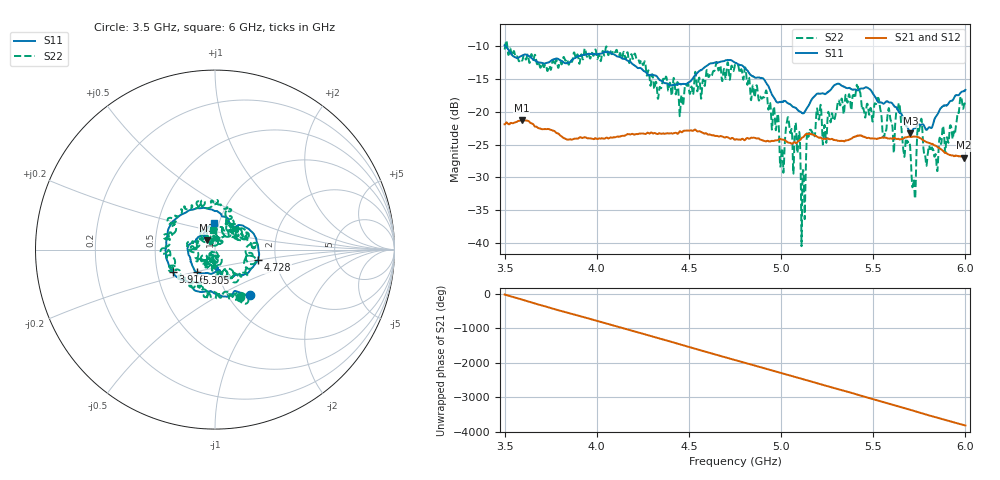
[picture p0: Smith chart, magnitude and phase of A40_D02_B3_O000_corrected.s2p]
! Created with skrf 1.9.0 (http://scikit-rf.org).
# Hz S RI R 50.0
!freq ReS11 ImS11 ReS21 ImS21 ReS12 ImS12 ReS22 ImS22
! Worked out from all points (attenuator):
!   1601 points, 3.5 GHz to 6 GHz, reference 50 ohm
!   highest |S21| = -21.27 dB at 3.594 GHz (marker M1); lowest = -27.0 dB at 5.994 GHz (marker M2)
!   lowest |S11| = -23.3 dB at 5.702 GHz (marker M3), VSWR 1.15, Z = 45.4 + j4.68 ohm
!   |S11| at or under -10 dB: 3.504 GHz to end of sweep
!   |S22| runs from -40.4 to -9.2 dB; largest |S21 - S12| = 0.001
!   S11 on the Smith chart (normalised r, x): 3.5 GHz: 1.26, -0.71; 3.916 GHz: 0.60, -0.16; 4.728 GHz: 1.61, -0.20; 5.305 GHz: 0.79, -0.21; 6 GHz: 0.95, +0.28
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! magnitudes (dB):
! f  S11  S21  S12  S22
! 3.5 GHz  -9.9  -21.9  -21.9  -10.5
! 3.594 GHz  -11.5  -21.3  -21.3  -12.2
! 3.916 GHz  -11.5  -23.9  -23.9  -11.3
! 3.917 GHz  -11.5  -24.0  -23.9  -11.3
! 4.334 GHz  -15.0  -23.3  -23.3  -17.7
! 4.728 GHz  -12.2  -24.1  -24.0  -13.4
! 4.75 GHz  -12.5  -24.3  -24.2  -12.9
! 4.928 GHz  -16.0  -24.4  -24.4  -19.1
! 5.005 GHz  -18.5  -24.2  -24.2  -25.5
! 5.034 GHz  -18.7  -24.6  -24.6  -21.1
! 5.088 GHz  -19.7  -24.6  -24.6  -26.2
! 5.12 GHz  -20.2  -23.9  -23.8  -28.9
! 5.167 GHz  -18.1  -23.4  -23.4  -23.2
! 5.305 GHz  -15.8  -24.4  -24.3  -19.1
! 5.584 GHz  -18.6  -24.1  -24.1  -19.4
! 5.638 GHz  -19.9  -24.1  -24.1  -18.9
! 5.702 GHz  -23.3  -23.8  -23.8  -26.0
! 5.72 GHz  -22.6  -23.8  -23.7  -30.3
! 5.752 GHz  -21.9  -24.0  -23.9  -22.4
! 5.841 GHz  -20.7  -25.2  -25.2  -26.9
! 5.994 GHz  -16.9  -27.0  -26.9  -18.8
! 6 GHz  -16.7  -27.0  -26.9  -19.3
